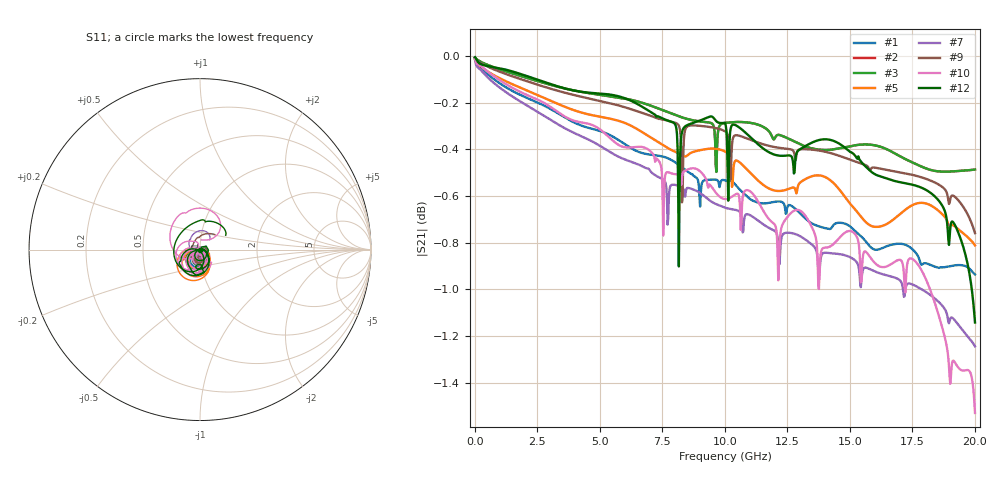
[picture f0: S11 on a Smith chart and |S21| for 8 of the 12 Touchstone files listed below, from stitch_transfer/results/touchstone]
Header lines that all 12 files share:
! Stitch-rule transferability - stripline, 2 mm stitch pitch, cut at x=20 mm
! Sweep: 10 MHz - 20 GHz, 25 MHz step, 4 cores
# GHz S MA R 50.000000
! Terminal data exported
! Port[1] = U1.PAD1.SIG
! Port[2] = U2.PAD1.SIG
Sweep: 10 MHz to 20 GHz
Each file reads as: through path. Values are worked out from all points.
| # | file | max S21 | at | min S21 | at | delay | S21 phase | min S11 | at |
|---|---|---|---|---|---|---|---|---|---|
| 1 | er3_d250_mono.s2p | -0.01 dB | 10 MHz | -0.9 dB | 20 GHz | 221 ps | -77 deg at 10.01 GHz | -54.6 dB | 10 MHz |
| 2 | er3_d250_segA.s2p | -0.01 dB | 10 MHz | -0.5 dB | 9.66 GHz | 112 ps | -42 deg at 10.01 GHz | -65.2 dB | 6.06 GHz |
| 3 | er3_d250_segB.s2p | -0.01 dB | 10 MHz | -0.5 dB | 9.66 GHz | 112 ps | -42 deg at 10.01 GHz | -61.0 dB | 10 MHz |
| 4 | er4_d150_mono.s2p | -0.03 dB | 10 MHz | -1.5 dB | 20 GHz | 256 ps | 158 deg at 10.01 GHz | -49.7 dB | 10 MHz |
| 5 | er4_d150_segA.s2p | -0.01 dB | 10 MHz | -0.8 dB | 20 GHz | 130 ps | -106 deg at 10.01 GHz | -55.9 dB | 10 MHz |
| 6 | er4_d150_segB.s2p | -0.01 dB | 10 MHz | -0.8 dB | 20 GHz | 130 ps | -106 deg at 10.01 GHz | -55.9 dB | 10 MHz |
| 7 | er4_d250_mono.s2p | -0.02 dB | 10 MHz | -1.2 dB | 20 GHz | 256 ps | 160 deg at 10.01 GHz | -53.9 dB | 2.435 GHz |
| 8 | er4_d250_segA.s2p | -0.01 dB | 10 MHz | -0.8 dB | 20 GHz | 130 ps | -104 deg at 10.01 GHz | -67.2 dB | 9.76 GHz |
| 9 | er4_d250_segB.s2p | -0.01 dB | 10 MHz | -0.8 dB | 20 GHz | 130 ps | -104 deg at 10.01 GHz | -59.7 dB | 10 MHz |
| 10 | er4_d400_mono.s2p | -0.01 dB | 10 MHz | -1.5 dB | 20 GHz | 258 ps | 157 deg at 10.01 GHz | -57.7 dB | 2.585 GHz |
| 11 | er4_d400_segA.s2p | -0.01 dB | 10 MHz | -1.1 dB | 20 GHz | 132 ps | -108 deg at 10.01 GHz | -66.6 dB | 5.635 GHz |
| 12 | er4_d400_segB.s2p | -0.01 dB | 10 MHz | -1.1 dB | 20 GHz | 132 ps | -108 deg at 10.01 GHz | -63.6 dB | 10 MHz |
